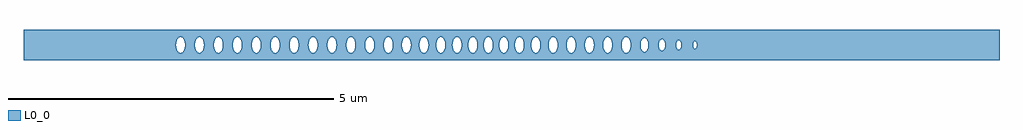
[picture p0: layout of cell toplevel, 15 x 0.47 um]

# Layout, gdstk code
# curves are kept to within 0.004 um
import gdstk
lib = gdstk.Library(unit=1e-6, precision=1e-09)
def P(c, l, *ps):  # polygons
    for p in ps: c.add(gdstk.Polygon(p, *l))
L0_0 = (0, 0)

toplevel = lib.new_cell('toplevel')
P(toplevel, L0_0, [(-4.559,-0.235),(-4.559,-0.079),(-4.575,-0.008),(-4.573,0.031),(-4.559,0.078),(-4.559,0.235),(-7.5,0.235),(-7.5,-0.008),(-5.157,-0.008),(-5.155,0.031),(-5.141,0.079),(-5.12,0.109),(-5.091,0.124),(-5.064,0.118),(-5.041,0.096),(-5.022,0.053),(-5.016,-0.008),(-4.866,-0.008),(-4.864,0.031),(-4.85,0.079),(-4.829,0.109),(-4.8,0.124),(-4.774,0.118),(-4.75,0.096),(-4.738,0.073),(-4.725,0.016),(-4.728,-0.038),(-4.738,-0.073),(-4.761,-0.109),(-4.791,-0.124),(-4.817,-0.118),(-4.844,-0.09),(-4.861,-0.046),(-4.866,-0.008),(-5.016,-0.008),(-5.022,-0.053),(-5.041,-0.096),(-5.064,-0.118),(-5.082,-0.124),(-5.108,-0.118),(-5.131,-0.096),(-5.148,-0.06),(-5.157,-0.008),(-7.5,-0.008),(-7.5,-0.235)],
  [(-4.556,0.085),(-4.526,0.118),(-4.509,0.124),(-4.491,0.122),(-4.467,0.105),(-4.447,0.073),(-4.437,0.038),(-4.434,-0.008),(-4.284,-0.008),(-4.281,0.038),(-4.259,0.096),(-4.227,0.122),(-4.2,0.122),(-4.176,0.105),(-4.159,0.079),(-4.145,0.031),(-4.143,-0.008),(-4.148,-0.046),(-4.162,-0.085),(-4.18,-0.109),(-4.209,-0.124),(-4.235,-0.118),(-4.259,-0.096),(-4.279,-0.046),(-4.284,-0.008),(-4.434,-0.008),(-4.447,-0.073),(-4.463,-0.1),(-4.483,-0.118),(-4.5,-0.124),(-4.526,-0.118),(-4.559,-0.079),(-4.559,-0.235),(-3.914,-0.235),(-3.914,-0.123),(-3.936,-0.122),(-3.968,-0.096),(-3.98,-0.073),(-3.993,-0.016),(-3.99,0.038),(-3.968,0.096),(-3.944,0.118),(-3.914,0.123),(-3.914,0.235),(-4.559,0.235)],
  [(-3.854,-0.031),(-3.874,-0.09),(-3.889,-0.109),(-3.914,-0.123),(-3.914,-0.235),(-3.281,-0.235),(-3.281,-0.067),(-3.307,-0.109),(-3.328,-0.122),(-3.354,-0.122),(-3.375,-0.109),(-3.392,-0.085),(-3.405,-0.053),(-3.411,-0.016),(-3.403,0.06),(-3.386,0.096),(-3.363,0.118),(-3.345,0.124),(-3.319,0.118),(-3.296,0.096),(-3.281,0.066),(-3.281,0.235),(-3.914,0.235),(-3.914,0.123),(-3.889,0.109),(-3.868,0.079),(-3.854,0.031),(-3.853,-0.016),(-3.702,-0.016),(-3.699,0.038),(-3.689,0.073),(-3.67,0.105),(-3.641,0.123),(-3.619,0.122),(-3.594,0.105),(-3.58,0.085),(-3.566,0.046),(-3.561,-0.008),(-3.57,-0.06),(-3.59,-0.1),(-3.619,-0.122),(-3.645,-0.122),(-3.67,-0.105),(-3.694,-0.06),(-3.702,-0.016),(-3.853,-0.016)],
  [(-2.539,-0.235),(-2.539,0.235),(-3.281,0.235),(-3.281,0.066),(-3.271,-0.016),(-3.12,-0.016),(-3.116,0.046),(-3.107,0.073),(-3.084,0.109),(-3.054,0.124),(-3.028,0.118),(-3.005,0.096),(-2.986,0.053),(-2.98,0),(-2.83,0),(-2.825,0.046),(-2.811,0.085),(-2.793,0.109),(-2.764,0.124),(-2.737,0.118),(-2.714,0.096),(-2.697,0.06),(-2.689,0.016),(-2.691,-0.033),(-2.702,-0.073),(-2.725,-0.109),(-2.755,-0.124),(-2.781,-0.118),(-2.811,-0.085),(-2.825,-0.046),(-2.83,0),(-2.98,0),(-2.986,-0.053),(-2.999,-0.085),(-3.016,-0.109),(-3.046,-0.124),(-3.072,-0.118),(-3.095,-0.096),(-3.11,-0.067),(-3.12,-0.016),(-3.271,-0.016),(-3.281,-0.066),(-3.281,-0.235)],
  [(-2.537,0.023),(-2.53,0.06),(-2.513,0.096),(-2.49,0.118),(-2.464,0.124),(-2.434,0.109),(-2.417,0.085),(-2.401,0.038),(-2.398,-0.008),(-2.249,-0.008),(-2.246,0.038),(-2.227,0.09),(-2.2,0.118),(-2.183,0.124),(-2.165,0.122),(-2.145,0.109),(-2.127,0.085),(-2.109,0.023),(-2.113,-0.046),(-2.127,-0.085),(-2.145,-0.109),(-2.174,-0.124),(-2.209,-0.112),(-2.236,-0.073),(-2.249,-0.008),(-2.398,-0.008),(-2.403,-0.046),(-2.423,-0.096),(-2.446,-0.118),(-2.481,-0.122),(-2.502,-0.109),(-2.52,-0.085),(-2.534,-0.046),(-2.539,-0.008),(-2.539,-0.235),(-1.938,-0.235),(-1.938,-0.096),(-1.955,-0.06),(-1.963,-0.016),(-1.957,0.053),(-1.938,0.096),(-1.938,0.235),(-2.539,0.235)],
  [(-1.931,0.105),(-1.897,0.124),(-1.875,0.12),(-1.855,0.105),(-1.827,0.046),(-1.823,-0.016),(-1.685,-0.016),(-1.679,0.053),(-1.66,0.096),(-1.637,0.118),(-1.602,0.122),(-1.577,0.105),(-1.56,0.079),(-1.549,0.046),(-1.544,-0.008),(-1.549,-0.046),(-1.563,-0.085),(-1.581,-0.109),(-1.61,-0.124),(-1.637,-0.118),(-1.66,-0.096),(-1.677,-0.06),(-1.685,-0.016),(-1.823,-0.016),(-1.836,-0.073),(-1.848,-0.096),(-1.871,-0.118),(-1.906,-0.122),(-1.938,-0.096),(-1.938,-0.235),(-1.324,-0.235),(-1.324,-0.118),(-1.355,-0.123),(-1.384,-0.105),(-1.408,-0.06),(-1.416,-0.016),(-1.41,0.053),(-1.391,0.096),(-1.359,0.122),(-1.341,0.124),(-1.324,0.118),(-1.324,0.235),(-1.938,0.235),(-1.938,0.096)],
  [(-0.906,0.023),(-0.899,0.06),(-0.882,0.096),(-0.859,0.118),(-0.841,0.124),(-0.819,0.12),(-0.799,0.105),(-0.782,0.079),(-0.77,0.038),(-0.77,0.235),(-1.324,0.235),(-1.324,0.118),(-1.301,0.096),(-1.286,0.066),(-1.276,-0.016),(-1.157,-0.016),(-1.154,0.038),(-1.144,0.073),(-1.121,0.109),(-1.091,0.124),(-1.065,0.118),(-1.038,0.09),(-1.021,0.046),(-1.016,0.008),(-1.018,-0.031),(-1.032,-0.079),(-1.053,-0.109),(-1.082,-0.124),(-1.108,-0.118),(-1.132,-0.096),(-1.144,-0.073),(-1.157,-0.016),(-1.276,-0.016),(-1.294,-0.085),(-1.324,-0.118),(-1.324,-0.235),(-0.77,-0.235),(-0.77,-0.041),(-0.782,-0.079),(-0.803,-0.109),(-0.832,-0.124),(-0.859,-0.118),(-0.882,-0.096),(-0.899,-0.06),(-0.907,-0.016)],
  [(-0.768,-0.023),(-0.77,-0.235),(-0.184,-0.235),(-0.184,-0.046),(-0.189,-0.016),(-0.184,0.235),(-0.77,0.235),(-0.766,-0.008),(-0.665,-0.008),(-0.66,0.046),(-0.646,0.085),(-0.616,0.118),(-0.59,0.124),(-0.56,0.109),(-0.537,0.073),(-0.527,0.038),(-0.524,-0.016),(-0.426,-0.016),(-0.42,0.053),(-0.394,0.105),(-0.36,0.124),(-0.343,0.122),(-0.322,0.109),(-0.294,0.06),(-0.286,-0.016),(-0.304,-0.085),(-0.338,-0.12),(-0.369,-0.122),(-0.394,-0.105),(-0.418,-0.06),(-0.426,-0.016),(-0.524,-0.016),(-0.532,-0.06),(-0.549,-0.096),(-0.572,-0.118),(-0.59,-0.124),(-0.616,-0.118),(-0.639,-0.096),(-0.656,-0.06),(-0.665,-0.008),(-0.766,-0.008)],
  [(0.304,0.016),(0.322,0.085),(0.343,0.112),(0.365,0.123),(0.365,0.235),(-0.184,0.235),(-0.184,0.046),(-0.176,0.073),(-0.153,0.109),(-0.132,0.122),(-0.105,0.122),(-0.081,0.105),(-0.064,0.079),(-0.05,0.031),(-0.049,-0.016),(0.052,-0.016),(0.056,0.046),(0.071,0.085),(0.1,0.118),(0.126,0.124),(0.144,0.118),(0.167,0.096),(0.184,0.06),(0.192,0.016),(0.188,-0.046),(0.179,-0.073),(0.156,-0.109),(0.126,-0.124),(0.1,-0.118),(0.077,-0.096),(0.06,-0.06),(0.052,-0.016),(-0.049,-0.016),(-0.053,-0.046),(-0.07,-0.09),(-0.085,-0.109),(-0.114,-0.124),(-0.132,-0.122),(-0.153,-0.109),(-0.176,-0.073),(-0.184,-0.046),(-0.184,-0.235),(0.365,-0.235),(0.365,-0.123),(0.336,-0.105),(0.316,-0.073),(0.305,-0.031)],
  [(0.378,0.124),(0.407,0.109),(0.425,0.085),(0.441,0.038),(0.444,0),(0.569,0),(0.574,0.046),(0.595,0.096),(0.622,0.12),(0.653,0.122),(0.678,0.105),(0.697,0.073),(0.707,0.038),(0.71,-0.016),(0.702,-0.06),(0.685,-0.096),(0.662,-0.118),(0.636,-0.124),(0.606,-0.109),(0.589,-0.085),(0.574,-0.046),(0.569,0),(0.444,0),(0.441,-0.039),(0.422,-0.09),(0.395,-0.118),(0.365,-0.123),(0.365,-0.235),(0.965,-0.235),(0.965,-0.09),(0.935,-0.12),(0.913,-0.124),(0.895,-0.118),(0.879,-0.105),(0.86,-0.073),(0.847,-0.016),(0.855,0.06),(0.883,0.109),(0.904,0.122),(0.922,0.124),(0.951,0.109),(0.965,0.09),(0.965,0.235),(0.365,0.235),(0.365,0.123)],
  [(0.965,0.235),(0.965,0.09),(0.983,0.046),(0.988,0),(1.127,0),(1.132,0.046),(1.147,0.085),(1.164,0.109),(1.194,0.124),(1.22,0.118),(1.243,0.096),(1.26,0.06),(1.268,0.016),(1.268,-0.019),(1.255,-0.073),(1.232,-0.109),(1.202,-0.124),(1.176,-0.118),(1.153,-0.096),(1.132,-0.046),(1.127,0),(0.988,0),(0.983,-0.046),(0.965,-0.09),(0.965,-0.235),(1.548,-0.235),(1.548,-0.026),(1.524,-0.096),(1.5,-0.118),(1.474,-0.124),(1.445,-0.109),(1.427,-0.085),(1.413,-0.046),(1.408,-0.008),(1.41,0.031),(1.424,0.079),(1.445,0.109),(1.474,0.124),(1.5,0.118),(1.524,0.096),(1.536,0.073),(1.548,0.023),(1.548,0.235)],
  [(2.297,-0.235),(2.297,-0.088),(2.274,-0.059),(2.262,-0.012),(2.268,0.044),(2.28,0.071),(2.297,0.088),(2.297,0.235),(1.548,0.235),(1.549,-0.016),(1.692,-0.016),(1.695,0.038),(1.705,0.073),(1.728,0.109),(1.758,0.124),(1.784,0.118),(1.814,0.085),(1.828,0.046),(1.832,-0.014),(1.983,-0.014),(1.994,0.064),(2.014,0.095),(2.039,0.108),(2.062,0.103),(2.085,0.079),(2.1,0.04),(2.104,0.007),(2.1,-0.04),(2.09,-0.069),(2.076,-0.091),(2.058,-0.105),(2.039,-0.108),(2.014,-0.095),(1.994,-0.064),(1.983,-0.014),(1.832,-0.014),(1.814,-0.085),(1.796,-0.109),(1.767,-0.124),(1.74,-0.118),(1.717,-0.096),(1.7,-0.06),(1.692,-0.016),(1.549,-0.016),(1.548,-0.235)],
  [(2.316,0.092),(2.337,0.081),(2.352,0.059),(2.362,0.023),(2.362,-0.014),(2.53,-0.014),(2.537,0.045),(2.546,0.062),(2.568,0.076),(2.588,0.069),(2.602,0.048),(2.61,0.019),(2.61,-0.011),(2.79,-0.011),(2.795,0.035),(2.817,0.06),(2.832,0.056),(2.843,0.041),(2.851,-0.011),(2.843,-0.041),(2.824,-0.06),(2.802,-0.049),(2.79,-0.011),(2.61,-0.011),(2.6,-0.052),(2.588,-0.069),(2.573,-0.076),(2.56,-0.074),(2.546,-0.062),(2.53,-0.014),(2.362,-0.014),(2.354,-0.054),(2.34,-0.078),(2.316,-0.092),(2.297,-0.088),(2.297,-0.235),(7.5,-0.235),(7.5,0.235),(2.297,0.235),(2.297,0.088)])

lib.write_gds('toplevel.gds')
